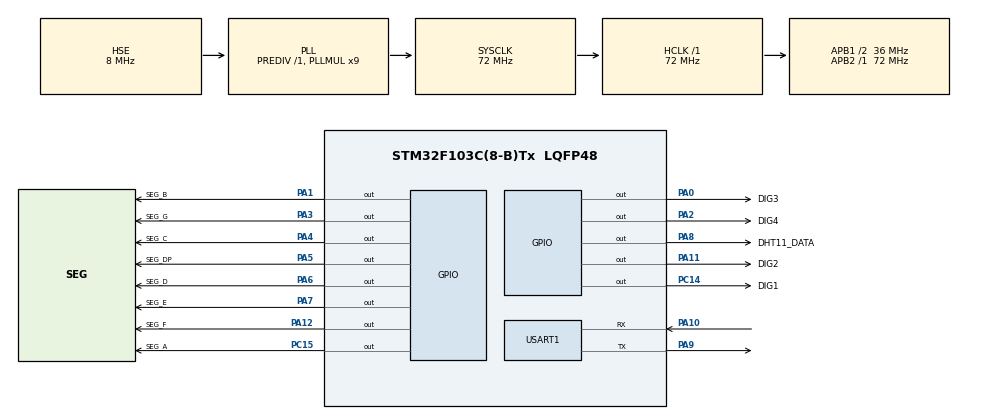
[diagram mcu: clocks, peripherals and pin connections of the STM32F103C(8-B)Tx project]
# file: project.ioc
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Mcu.Family=STM32F1
Mcu.Name=STM32F103C(8-B)Tx
Mcu.Package=LQFP48
NVIC.PriorityGroup=NVIC_PRIORITYGROUP_4
NVIC.TIM4_IRQn=true\:0\:0\:false\:false\:true\:false\:true
NVIC.TimeBase=TIM4_IRQn
NVIC.TimeBaseIP=TIM4
PA0-WKUP.GPIO_Label=DIG3
PA0-WKUP.GPIO_Speed=GPIO_SPEED_FREQ_HIGH
PA0-WKUP.PinState=GPIO_PIN_SET
PA0-WKUP.Signal=GPIO_Output
PA1.GPIO_Label=SEG_B
PA1.GPIO_Speed=GPIO_SPEED_FREQ_HIGH
PA1.PinState=GPIO_PIN_SET
PA1.Signal=GPIO_Output
PA10.Mode=Asynchronous
PA10.Signal=USART1_RX
PA11.GPIO_Label=DIG2
PA11.GPIO_Speed=GPIO_SPEED_FREQ_HIGH
PA11.PinState=GPIO_PIN_SET
PA11.Signal=GPIO_Output
PA12.GPIO_Label=SEG_F
PA12.GPIO_Speed=GPIO_SPEED_FREQ_HIGH
PA12.PinState=GPIO_PIN_SET
PA12.Signal=GPIO_Output
PA13.Mode=Serial_Wire
PA13.Signal=SYS_JTMS-SWDIO
PA14.Mode=Serial_Wire
PA14.Signal=SYS_JTCK-SWCLK
PA2.GPIO_Label=DIG4
PA2.GPIO_Speed=GPIO_SPEED_FREQ_HIGH
PA2.PinState=GPIO_PIN_SET
PA2.Signal=GPIO_Output
PA3.GPIO_Label=SEG_G
PA3.GPIO_Speed=GPIO_SPEED_FREQ_HIGH
PA3.PinState=GPIO_PIN_SET
PA3.Signal=GPIO_Output
PA4.GPIO_Label=SEG_C
PA4.GPIO_Speed=GPIO_SPEED_FREQ_HIGH
PA4.PinState=GPIO_PIN_SET
PA4.Signal=GPIO_Output
PA5.GPIO_Label=SEG_DP
PA5.GPIO_Speed=GPIO_SPEED_FREQ_HIGH
PA5.PinState=GPIO_PIN_SET
PA5.Signal=GPIO_Output
PA6.GPIO_Label=SEG_D
PA6.GPIO_Speed=GPIO_SPEED_FREQ_HIGH
PA6.PinState=GPIO_PIN_SET
PA6.Signal=GPIO_Output
PA7.GPIO_Label=SEG_E
PA7.GPIO_Speed=GPIO_SPEED_FREQ_HIGH
PA7.PinState=GPIO_PIN_SET
PA7.Signal=GPIO_Output
PA8.GPIO_Label=DHT11_DATA
PA8.GPIO_PuPd=GPIO_PULLUP
PA8.GPIO_Speed=GPIO_SPEED_FREQ_HIGH
PA8.PinState=GPIO_PIN_SET
PA8.Signal=GPIO_Output
PA9.Mode=Asynchronous
PA9.Signal=USART1_TX
PC14-OSC32_IN.GPIO_Label=DIG1
PC14-OSC32_IN.GPIO_Speed=GPIO_SPEED_FREQ_HIGH
PC14-OSC32_IN.PinState=GPIO_PIN_SET
PC14-OSC32_IN.Signal=GPIO_Output
PC15-OSC32_OUT.GPIO_Label=SEG_A
PC15-OSC32_OUT.GPIO_Speed=GPIO_SPEED_FREQ_HIGH
PC15-OSC32_OUT.PinState=GPIO_PIN_SET
PC15-OSC32_OUT.Signal=GPIO_Output
PD0-OSC_IN.Mode=HSE-External-Oscillator
PD0-OSC_IN.Signal=RCC_OSC_IN
PD1-OSC_OUT.Mode=HSE-External-Oscillator
PD1-OSC_OUT.Signal=RCC_OSC_OUT
ProjectManager.HeapSize=0x200
ProjectManager.StackSize=0x400
ProjectManager.TargetToolchain=STM32CubeIDE
RCC.AHBFreq_Value=72000000
RCC.APB1CLKDivider=RCC_HCLK_DIV2
RCC.APB1Freq_Value=36000000
RCC.APB1TimFreq_Value=72000000
RCC.APB2Freq_Value=72000000
RCC.APB2TimFreq_Value=72000000
RCC.HCLKFreq_Value=72000000
RCC.PLLMUL=RCC_PLL_MUL9
RCC.PLLSourceVirtual=RCC_PLLSOURCE_HSE
RCC.SYSCLKFreq_VALUE=72000000
RCC.SYSCLKSource=RCC_SYSCLKSOURCE_PLLCLK
RCC.USBFreq_Value=72000000
TIM3.Period=10000-1
TIM3.Prescaler=36-1
USART1.VirtualMode=VM_ASYNC
VP_SYS_VS_tim4.Mode=TIM4
VP_TIM3_VS_ClockSourceINT.Mode=Internal
board=custom

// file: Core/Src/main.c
/* USER CODE BEGIN Header */
/**
  ******************************************************************************
  * @file           : main.c
  * @brief          : Main program body
  ******************************************************************************
  * @attention
  *
  * <h2><center>&copy; Copyright (c) 2020 STMicroelectronics.
  * All rights reserved.</center></h2>
  *
  * This software component is licensed by ST under BSD 3-Clause license,
  * the "License"; You may not use this file except in compliance with the
  * License. You may obtain a copy of the License at:
  *                        opensource.org/licenses/BSD-3-Clause
  *
  ******************************************************************************
  * @attention
  *
  * 这里修改了TIM4作为HAL Time Base的重装载计数周期
  * 使得HAL_Delay(1)的时长为10us,方便DHT11的延时工作
  *
  * 2020.5.9 update: HAL Time Base改回1ms，精确延时用TIM3实现
  */

/* USER CODE END Header */

#include "main.h"
/* USER CODE BEGIN Includes */
#include "digit.h"
#include "dht11.h"
/* USER CODE END Includes */

/* USER CODE BEGIN PM */
#define TASK_UART_STK_SIZE          500
#define TASK_DHT11READ_STK_SIZE     500
#define TASK_DISPLAY_STK_SIZE       500
#define TASK_START_STK_SIZE         100

#define TASK_UART_PRIO              7
#define TASK_DHT11READ_PRIO         5
#define TASK_DISPLAY_PRIO           6
#define TASK_START_PRIO             1
/* USER CODE END PM */
TIM_HandleTypeDef htim3;
UART_HandleTypeDef huart1;

/* USER CODE BEGIN PV */
OS_STK TASK_UART_STK[TASK_UART_STK_SIZE];
OS_STK TASK_DHT11READ_STK[TASK_DHT11READ_STK_SIZE];
OS_STK TASK_DISPLAY_STK[TASK_DISPLAY_STK_SIZE];
OS_STK TASK_START_STK[TASK_START_STK_SIZE];

uint8_t UartSendBuf[] = "Temperature:   ; Humidity:   \n";
/* 任务间共享的全局变量 */
uint8_t humidity, temperature;      /* 温湿度整数部分 */
uint8_t frac_hum, frac_temp;        /* 温湿度小数部分 */
/* USER CODE END PV */
void SystemClock_Config(void);
static void MX_GPIO_Init(void);
static void MX_TIM3_Init(void);
static void MX_USART1_UART_Init(void);
/* USER CODE BEGIN PFP */
/* 任务 */
void Task_Uart(void *pdata);
void Task_DHT11Read(void *pdata);
void Task_Display(void *pdata);
void Task_Start(void *pdata);
/* USER CODE END PFP */

/* USER CODE BEGIN 0 */

/**
 * @brief 初始任务,用于初始化SysTick
 */
void Task_Start(void *pdata)
{
    /* SysTick Frequency: 72MHz, time per interrupt: 0.5ms */
    OS_CPU_SysTickInit(36000 - 1);
    OSTaskDel(TASK_START_PRIO);
}

/**
 * @brief 每隔10秒向树莓派串口发送一次温湿度数据
 *
 */
void Task_Uart(void *pdata)
{
    OS_CPU_SR cpu_sr;

    while(1)
    {
        OS_ENTER_CRITICAL();

        UartSendBuf[13] = temperature / 10 + '0';
        UartSendBuf[14] = temperature % 10 + '0';
        UartSendBuf[27] = humidity / 10 + '0';
        UartSendBuf[28] = humidity % 10 + '0';

        HAL_UART_Transmit(&huart1, (uint8_t *)UartSendBuf, sizeof(UartSendBuf), 10);

        OS_EXIT_CRITICAL();
        OSTimeDly(16000);
    }
}

/**
 * @brief 每隔10秒读取一次DHT11的温湿度数据
 *
 */
void Task_DHT11Read(void *pdata)
{
    uint16_t cpu_sr;

    while(1)
    {
        OS_ENTER_CRITICAL();
        if (DHT11Start() == OK_RESPONSE)
        {
            DHT11ReceiveAndCheck();
        }
        OS_EXIT_CRITICAL();
        OSTimeDly(17000);
    }
}

/**
 * @brief 实时在LED数码管上交替显示温度和湿度
 * @attention 弃用DIG1和DIG2
 */
void Task_Display(void *pdata)
{
    uint8_t tmp, tmparr[4], i;
    uint16_t cnt = 0;
    OS_CPU_SR cpu_sr;

    while(1)
    {
        if (cnt == 1)
        {
            OS_ENTER_CRITICAL();
            tmp = temperature;
            OS_EXIT_CRITICAL();
            for(i = 2; i >= 1; i--)
            {
                tmparr[i-1] = tmp % 10;
                tmp /= 10;
            }
        }
        else if (cnt == 200)
        {
            OS_ENTER_CRITICAL();
            tmp = humidity;
            OS_EXIT_CRITICAL();
            for(i = 2; i >= 1; i--)
            {
                tmparr[i-1] = tmp % 10;
                tmp /= 10;
            }
        }
        else if (cnt == 400)
            cnt = 0;

        for(i = 1; i <= 2; i++)
        {
            DisplayOneDigit(i + 2, tmparr[i-1]);
            OSTimeDly(20);
        }
        cnt ++;
  }
}

/* USER CODE END 0 */

int main(void)
{
    /* MCU Configuration--------------------------------------------------------*/
    /* Reset of all peripherals, Initializes the Flash interface and the Systick. */
    HAL_Init();
    /* Configure the system clock */
    SystemClock_Config();
    /* Initialize all configured peripherals */
    MX_GPIO_Init();
    MX_TIM3_Init();
    MX_USART1_UART_Init();
    /* USER CODE BEGIN 2 */
    HAL_TIM_Base_Start(&htim3);
    HAL_Delay(2000);
    OSInit();

    OSTaskCreate(Task_Start, (void *)0, (OS_STK *)&TASK_START_STK[TASK_START_STK_SIZE - 1], TASK_START_PRIO);
    OSTaskCreate(Task_Uart, (void *)0, (OS_STK *)&TASK_UART_STK[TASK_UART_STK_SIZE - 1], TASK_UART_PRIO);
    OSTaskCreate(Task_DHT11Read, (void *)0, (OS_STK *)&TASK_DHT11READ_STK[TASK_DHT11READ_STK_SIZE - 1], TASK_DHT11READ_PRIO);
    OSTaskCreate(Task_Display, (void *)0, (OS_STK *)&TASK_DISPLAY_STK[TASK_DISPLAY_STK_SIZE - 1], TASK_DISPLAY_PRIO);

    OSStart();
    /* USER CODE END 2 */
    /* Infinite loop */
    while (1)
    {
    }
}

void SystemClock_Config(void)
{
  RCC_OscInitTypeDef RCC_OscInitStruct = {0};
  RCC_ClkInitTypeDef RCC_ClkInitStruct = {0};

  /** Initializes the CPU, AHB and APB busses clocks
  */
  RCC_OscInitStruct.OscillatorType = RCC_OSCILLATORTYPE_HSE;
  RCC_OscInitStruct.HSEState = RCC_HSE_ON;
  RCC_OscInitStruct.HSEPredivValue = RCC_HSE_PREDIV_DIV1;
  RCC_OscInitStruct.HSIState = RCC_HSI_ON;
  RCC_OscInitStruct.PLL.PLLState = RCC_PLL_ON;
  RCC_OscInitStruct.PLL.PLLSource = RCC_PLLSOURCE_HSE;
  RCC_OscInitStruct.PLL.PLLMUL = RCC_PLL_MUL9;
  if (HAL_RCC_OscConfig(&RCC_OscInitStruct) != HAL_OK)
  {
    Error_Handler();
  }
  /** Initializes the CPU, AHB and APB busses clocks
  */
  RCC_ClkInitStruct.ClockType = RCC_CLOCKTYPE_HCLK|RCC_CLOCKTYPE_SYSCLK
                              |RCC_CLOCKTYPE_PCLK1|RCC_CLOCKTYPE_PCLK2;
  RCC_ClkInitStruct.SYSCLKSource = RCC_SYSCLKSOURCE_PLLCLK;
  RCC_ClkInitStruct.AHBCLKDivider = RCC_SYSCLK_DIV1;
  RCC_ClkInitStruct.APB1CLKDivider = RCC_HCLK_DIV2;
  RCC_ClkInitStruct.APB2CLKDivider = RCC_HCLK_DIV1;

  if (HAL_RCC_ClockConfig(&RCC_ClkInitStruct, FLASH_LATENCY_2) != HAL_OK)
  {
    Error_Handler();
  }
}

static void MX_TIM3_Init(void)
{

  TIM_ClockConfigTypeDef sClockSourceConfig = {0};
  TIM_MasterConfigTypeDef sMasterConfig = {0};

  htim3.Instance = TIM3;
  htim3.Init.Prescaler = 72-1;
  htim3.Init.CounterMode = TIM_COUNTERMODE_UP;
  htim3.Init.Period = 50000-1;
  htim3.Init.ClockDivision = TIM_CLOCKDIVISION_DIV1;
  htim3.Init.AutoReloadPreload = TIM_AUTORELOAD_PRELOAD_DISABLE;
  if (HAL_TIM_Base_Init(&htim3) != HAL_OK)
  {
    Error_Handler();
  }
  sClockSourceConfig.ClockSource = TIM_CLOCKSOURCE_INTERNAL;
  if (HAL_TIM_ConfigClockSource(&htim3, &sClockSourceConfig) != HAL_OK)
  {
    Error_Handler();
  }
  sMasterConfig.MasterOutputTrigger = TIM_TRGO_RESET;
  sMasterConfig.MasterSlaveMode = TIM_MASTERSLAVEMODE_DISABLE;
  if (HAL_TIMEx_MasterConfigSynchronization(&htim3, &sMasterConfig) != HAL_OK)
  {
    Error_Handler();
  }

}

static void MX_USART1_UART_Init(void)
{

  huart1.Instance = USART1;
  huart1.Init.BaudRate = 115200;
  huart1.Init.WordLength = UART_WORDLENGTH_8B;
  huart1.Init.StopBits = UART_STOPBITS_1;
  huart1.Init.Parity = UART_PARITY_NONE;
  huart1.Init.Mode = UART_MODE_TX_RX;
  huart1.Init.HwFlowCtl = UART_HWCONTROL_NONE;
  huart1.Init.OverSampling = UART_OVERSAMPLING_16;
  if (HAL_UART_Init(&huart1) != HAL_OK)
  {
    Error_Handler();
  }

}

static void MX_GPIO_Init(void)
{
  GPIO_InitTypeDef GPIO_InitStruct = {0};

  /* GPIO Ports Clock Enable */
  __HAL_RCC_GPIOC_CLK_ENABLE();
  __HAL_RCC_GPIOD_CLK_ENABLE();
  __HAL_RCC_GPIOA_CLK_ENABLE();

  /*Configure GPIO pin Output Level */
  HAL_GPIO_WritePin(GPIOC, DIG1_Pin|SEG_A_Pin, GPIO_PIN_SET);

  /*Configure GPIO pin Output Level */
  HAL_GPIO_WritePin(GPIOA, DIG3_Pin|SEG_B_Pin|DIG4_Pin|SEG_G_Pin
                          |SEG_C_Pin|SEG_DP_Pin|SEG_D_Pin|SEG_E_Pin
                          |DHT11_DATA_Pin|DIG2_Pin|SEG_F_Pin, GPIO_PIN_SET);

  /*Configure GPIO pins : DIG1_Pin SEG_A_Pin */
  GPIO_InitStruct.Pin = DIG1_Pin|SEG_A_Pin;
  GPIO_InitStruct.Mode = GPIO_MODE_OUTPUT_PP;
  GPIO_InitStruct.Pull = GPIO_NOPULL;
  GPIO_InitStruct.Speed = GPIO_SPEED_FREQ_HIGH;
  HAL_GPIO_Init(GPIOC, &GPIO_InitStruct);

  /*Configure GPIO pins : DIG3_Pin SEG_B_Pin DIG4_Pin SEG_G_Pin
                           SEG_C_Pin SEG_DP_Pin SEG_D_Pin SEG_E_Pin
                           DIG2_Pin SEG_F_Pin */
  GPIO_InitStruct.Pin = DIG3_Pin|SEG_B_Pin|DIG4_Pin|SEG_G_Pin
                          |SEG_C_Pin|SEG_DP_Pin|SEG_D_Pin|SEG_E_Pin
                          |DIG2_Pin|SEG_F_Pin;
  GPIO_InitStruct.Mode = GPIO_MODE_OUTPUT_PP;
  GPIO_InitStruct.Pull = GPIO_NOPULL;
  GPIO_InitStruct.Speed = GPIO_SPEED_FREQ_HIGH;
  HAL_GPIO_Init(GPIOA, &GPIO_InitStruct);

  /*Configure GPIO pin : DHT11_DATA_Pin */
  GPIO_InitStruct.Pin = DHT11_DATA_Pin;
  GPIO_InitStruct.Mode = GPIO_MODE_INPUT;
  GPIO_InitStruct.Pull = GPIO_NOPULL;
  GPIO_InitStruct.Speed = GPIO_SPEED_FREQ_HIGH;
  HAL_GPIO_Init(DHT11_DATA_GPIO_Port, &GPIO_InitStruct);

}

 /**
  * @brief  Period elapsed callback in non blocking mode
  * @note   This function is called  when TIM4 interrupt took place, inside
  * HAL_TIM_IRQHandler(). It makes a direct call to HAL_IncTick() to increment
  * a global variable "uwTick" used as application time base.
  * @param  htim : TIM handle
  * @retval None
  */
void HAL_TIM_PeriodElapsedCallback(TIM_HandleTypeDef *htim)
{
  if (htim->Instance == TIM4) {
    HAL_IncTick();
  }
}

void Error_Handler(void)
{
}

/************************ (C) COPYRIGHT STMicroelectronics *****END OF FILE****/
